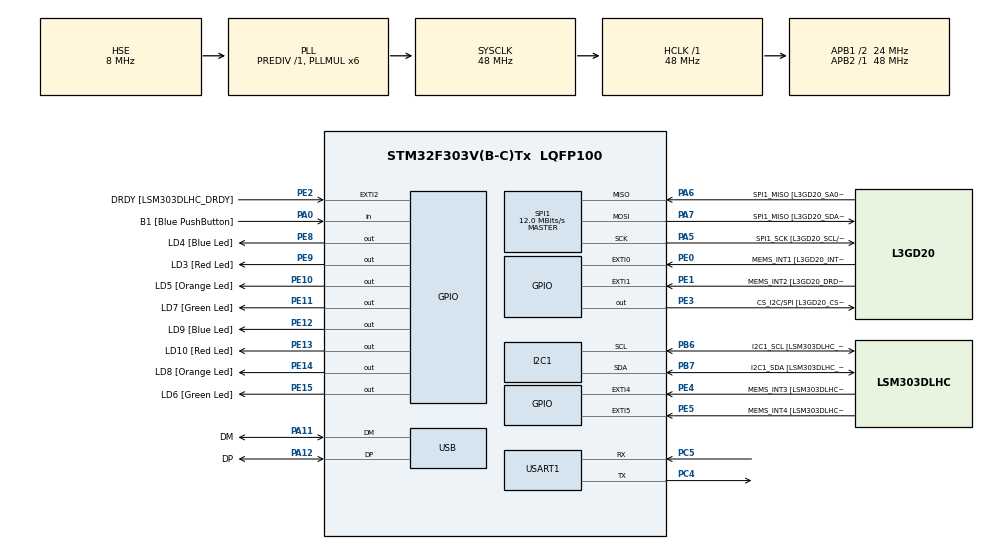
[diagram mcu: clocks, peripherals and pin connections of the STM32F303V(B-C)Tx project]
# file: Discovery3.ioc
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I2C1.Timing=0x2000090E
I2C1.Timing-I2C=0x2000090E
Mcu.Family=STM32F3
Mcu.Name=STM32F303V(B-C)Tx
Mcu.Package=LQFP100
NVIC.PriorityGroup=NVIC_PRIORITYGROUP_0
PA0.GPIO_Label=B1 [Blue PushButton]
PA0.Signal=GPIO_Input
PA11.GPIO_Label=DM
PA11.Mode=Device
PA11.Signal=USB_DM
PA12.GPIO_Label=DP
PA12.Mode=Device
PA12.Signal=USB_DP
PA13.GPIO_Label=SWDIO
PA13.Mode=Serial_Wire
PA13.Signal=SYS_JTMS-SWDIO
PA14.GPIO_Label=SWCLK
PA14.Mode=Serial_Wire
PA14.Signal=SYS_JTCK-SWCLK
PA5.GPIO_Label=SPI1_SCK [L3GD20_SCL/SPC]
PA5.Mode=Full_Duplex_Master
PA5.Signal=SPI1_SCK
PA6.GPIO_Label=SPI1_MISO [L3GD20_SA0/SDO]
PA6.Mode=Full_Duplex_Master
PA6.Signal=SPI1_MISO
PA7.GPIO_Label=SPI1_MISO [L3GD20_SDA/SDI/SDO]
PA7.Mode=Full_Duplex_Master
PA7.Signal=SPI1_MOSI
PB3.GPIO_Label=SWO
PB3.Signal=SYS_JTDO-TRACESWO
PB6.GPIO_Label=I2C1_SCL [LSM303DLHC_SCL]
PB6.GPIO_Pu=GPIO_PULLUP
PB6.Mode=I2C
PB6.Signal=I2C1_SCL
PB7.GPIO_Label=I2C1_SDA [LSM303DLHC_SDA]
PB7.GPIO_Pu=GPIO_PULLUP
PB7.Mode=I2C
PB7.Signal=I2C1_SDA
PC14-OSC32_IN.GPIO_Label=OSC32_IN
PC14-OSC32_IN.Signal=RCC_OSC32_IN
PC15-OSC32_OUT.GPIO_Label=OSC32_OUT
PC15-OSC32_OUT.Signal=RCC_OSC32_OUT
PC4.Mode=Asynchronous
PC4.Signal=USART1_TX
PC5.Mode=Asynchronous
PC5.Signal=USART1_RX
PE0.GPIO_Label=MEMS_INT1 [L3GD20_INT1]
PE0.GPIO_ModeDefaultEXTI=GPIO_MODE_EVT_RISING
PE0.Signal=GPXTI0
PE1.GPIO_Label=MEMS_INT2 [L3GD20_DRDY/INT2]
PE1.GPIO_ModeDefaultEXTI=GPIO_MODE_EVT_RISING
PE1.Signal=GPXTI1
PE10.GPIO_Label=LD5 [Orange Led]
PE10.Signal=GPIO_Output
PE11.GPIO_Label=LD7 [Green Led]
PE11.Signal=GPIO_Output
PE12.GPIO_Label=LD9 [Blue Led]
PE12.Signal=GPIO_Output
PE13.GPIO_Label=LD10 [Red Led]
PE13.Signal=GPIO_Output
PE14.GPIO_Label=LD8 [Orange Led]
PE14.Signal=GPIO_Output
PE15.GPIO_Label=LD6 [Green Led]
PE15.Signal=GPIO_Output
PE2.GPIO_Label=DRDY [LSM303DLHC_DRDY]
PE2.GPIO_ModeDefaultEXTI=GPIO_MODE_EVT_RISING
PE2.Signal=GPXTI2
PE3.GPIO_Label=CS_I2C/SPI [L3GD20_CS_I2C/SPI]
PE3.Signal=GPIO_Output
PE4.GPIO_Label=MEMS_INT3 [LSM303DLHC_INT1]
PE4.GPIO_ModeDefaultEXTI=GPIO_MODE_EVT_RISING
PE4.Signal=GPXTI4
PE5.GPIO_Label=MEMS_INT4 [LSM303DLHC_INT2]
PE5.GPIO_ModeDefaultEXTI=GPIO_MODE_EVT_RISING
PE5.Signal=GPXTI5
PE8.GPIO_Label=LD4 [Blue Led]
PE8.Signal=GPIO_Output
PE9.GPIO_Label=LD3 [Red Led]
PE9.Signal=GPIO_Output
PF0-OSC_IN.GPIO_Label=OSC_IN
PF0-OSC_IN.Mode=HSE-External-Clock-Source
PF0-OSC_IN.Signal=RCC_OSC_IN
PF1-OSC_OUT.GPIO_Label=OSC_OUT
PF1-OSC_OUT.Signal=RCC_OSC_OUT
ProjectManager.HeapSize=0x200
ProjectManager.StackSize=0x400
ProjectManager.TargetToolchain=CMake
RCC.AHBFreq_Value=48000000
RCC.APB1CLKDivider=RCC_HCLK_DIV2
RCC.APB1Freq_Value=24000000
RCC.APB1TimFreq_Value=48000000
RCC.APB2Freq_Value=48000000
RCC.APB2TimFreq_Value=48000000
RCC.CortexFreq_Value=48000000
RCC.HCLKFreq_Value=48000000
RCC.HSE_VALUE=8000000
RCC.HSI_VALUE=8000000
RCC.LSE_VALUE=32768
RCC.PLLMUL=RCC_PLL_MUL6
RCC.SYSCLKFreq_VALUE=48000000
RCC.SYSCLKSourceVirtual=RCC_SYSCLKSOURCE_PLLCLK
RCC.USBFreq_Value=48000000
SPI1.BaudRatePrescaler=SPI_BAUDRATEPRESCALER_4
SPI1.BaudRatePrescaler-Full_Duplex_Master=SPI_BAUDRATEPRESCALER_2
SPI1.CalculateBaudRate=12.0 MBits/s
SPI1.CalculateBaudRate-Full_Duplex_Master=24.0 MBits/s
SPI1.Direction=SPI_DIRECTION_2LINES
SPI1.Mode=SPI_MODE_MASTER
SPI1.Mode-Full_Duplex_Master=SPI_MODE_MASTER
SPI1.VirtualType=VM_MASTER
USART1.VirtualMode-Asynchronous=VM_ASYNC
board=STM32F3DISCOVERY

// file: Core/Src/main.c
/* USER CODE BEGIN Header */
/**
  ******************************************************************************
  * @file           : main.c
  * @brief          : Main program body
  ******************************************************************************
  * @attention
  *
  * Copyright (c) 2026 STMicroelectronics.
  * All rights reserved.
  *
  * This software is licensed under terms that can be found in the LICENSE file
  * in the root directory of this software component.
  * If no LICENSE file comes with this software, it is provided AS-IS.
  *
  ******************************************************************************
  */
/* USER CODE END Header */
#include "main.h"
#include "stm32f3xx_hal_uart.h"

I2C_HandleTypeDef hi2c1;

SPI_HandleTypeDef hspi1;

UART_HandleTypeDef huart1;

PCD_HandleTypeDef hpcd_USB_FS;

void SystemClock_Config(void);
static void MX_GPIO_Init(void);
static void MX_I2C1_Init(void);
static void MX_SPI1_Init(void);
static void MX_USB_PCD_Init(void);
static void MX_USART1_UART_Init(void);

int main(void)
{

  /* MCU Configuration--------------------------------------------------------*/

  /* Reset of all peripherals, Initializes the Flash interface and the Systick. */
  HAL_Init();

  /* Configure the system clock */
  SystemClock_Config();

  /* Initialize all configured peripherals */
  MX_GPIO_Init();
  MX_I2C1_Init();
  MX_SPI1_Init();
  MX_USB_PCD_Init();
  MX_USART1_UART_Init();

  /* Infinite loop */
  /* USER CODE BEGIN WHILE */
  while (1)
  {
    HAL_UART_Transmit(&huart1, (uint8_t *)"Hello World!\r\n", 14, HAL_MAX_DELAY);

    HAL_Delay(500);
    HAL_GPIO_TogglePin(LD4_GPIO_Port, LD4_Pin);
    HAL_Delay(500);
    HAL_GPIO_TogglePin(LD3_GPIO_Port, LD3_Pin);
    HAL_Delay(500);

    HAL_GPIO_TogglePin(LD5_GPIO_Port, LD5_Pin);
    HAL_Delay(500);
    HAL_GPIO_TogglePin(LD7_GPIO_Port, LD7_Pin);
    HAL_Delay(500);
    HAL_GPIO_TogglePin(LD9_GPIO_Port, LD9_Pin);
    HAL_Delay(500);
    HAL_GPIO_TogglePin(LD10_GPIO_Port, LD10_Pin);
    HAL_Delay(500);
    HAL_GPIO_TogglePin(LD8_GPIO_Port, LD8_Pin);
    HAL_Delay(500);
    HAL_GPIO_TogglePin(LD6_GPIO_Port, LD6_Pin);
    HAL_Delay(500);

    /* USER CODE END WHILE */

  }
}

void SystemClock_Config(void)
{
  RCC_OscInitTypeDef RCC_OscInitStruct = {0};
  RCC_ClkInitTypeDef RCC_ClkInitStruct = {0};
  RCC_PeriphCLKInitTypeDef PeriphClkInit = {0};

  /** Initializes the RCC Oscillators according to the specified parameters
  * in the RCC_OscInitTypeDef structure.
  */
  RCC_OscInitStruct.OscillatorType = RCC_OSCILLATORTYPE_HSI|RCC_OSCILLATORTYPE_HSE;
  RCC_OscInitStruct.HSEState = RCC_HSE_BYPASS;
  RCC_OscInitStruct.HSEPredivValue = RCC_HSE_PREDIV_DIV1;
  RCC_OscInitStruct.HSIState = RCC_HSI_ON;
  RCC_OscInitStruct.HSICalibrationValue = RCC_HSICALIBRATION_DEFAULT;
  RCC_OscInitStruct.PLL.PLLState = RCC_PLL_ON;
  RCC_OscInitStruct.PLL.PLLSource = RCC_PLLSOURCE_HSE;
  RCC_OscInitStruct.PLL.PLLMUL = RCC_PLL_MUL6;
  if (HAL_RCC_OscConfig(&RCC_OscInitStruct) != HAL_OK)
  {
    Error_Handler();
  }

  /** Initializes the CPU, AHB and APB buses clocks
  */
  RCC_ClkInitStruct.ClockType = RCC_CLOCKTYPE_HCLK|RCC_CLOCKTYPE_SYSCLK
                              |RCC_CLOCKTYPE_PCLK1|RCC_CLOCKTYPE_PCLK2;
  RCC_ClkInitStruct.SYSCLKSource = RCC_SYSCLKSOURCE_PLLCLK;
  RCC_ClkInitStruct.AHBCLKDivider = RCC_SYSCLK_DIV1;
  RCC_ClkInitStruct.APB1CLKDivider = RCC_HCLK_DIV2;
  RCC_ClkInitStruct.APB2CLKDivider = RCC_HCLK_DIV1;

  if (HAL_RCC_ClockConfig(&RCC_ClkInitStruct, FLASH_LATENCY_1) != HAL_OK)
  {
    Error_Handler();
  }
  PeriphClkInit.PeriphClockSelection = RCC_PERIPHCLK_USB|RCC_PERIPHCLK_USART1
                              |RCC_PERIPHCLK_I2C1;
  PeriphClkInit.Usart1ClockSelection = RCC_USART1CLKSOURCE_PCLK2;
  PeriphClkInit.I2c1ClockSelection = RCC_I2C1CLKSOURCE_HSI;
  PeriphClkInit.USBClockSelection = RCC_USBCLKSOURCE_PLL;
  if (HAL_RCCEx_PeriphCLKConfig(&PeriphClkInit) != HAL_OK)
  {
    Error_Handler();
  }
}

static void MX_I2C1_Init(void)
{

  hi2c1.Instance = I2C1;
  hi2c1.Init.Timing = 0x2000090E;
  hi2c1.Init.OwnAddress1 = 0;
  hi2c1.Init.AddressingMode = I2C_ADDRESSINGMODE_7BIT;
  hi2c1.Init.DualAddressMode = I2C_DUALADDRESS_DISABLE;
  hi2c1.Init.OwnAddress2 = 0;
  hi2c1.Init.OwnAddress2Masks = I2C_OA2_NOMASK;
  hi2c1.Init.GeneralCallMode = I2C_GENERALCALL_DISABLE;
  hi2c1.Init.NoStretchMode = I2C_NOSTRETCH_DISABLE;
  if (HAL_I2C_Init(&hi2c1) != HAL_OK)
  {
    Error_Handler();
  }

  /** Configure Analogue filter
  */
  if (HAL_I2CEx_ConfigAnalogFilter(&hi2c1, I2C_ANALOGFILTER_ENABLE) != HAL_OK)
  {
    Error_Handler();
  }

  /** Configure Digital filter
  */
  if (HAL_I2CEx_ConfigDigitalFilter(&hi2c1, 0) != HAL_OK)
  {
    Error_Handler();
  }

}

static void MX_SPI1_Init(void)
{

  /* SPI1 parameter configuration*/
  hspi1.Instance = SPI1;
  hspi1.Init.Mode = SPI_MODE_MASTER;
  hspi1.Init.Direction = SPI_DIRECTION_2LINES;
  hspi1.Init.DataSize = SPI_DATASIZE_4BIT;
  hspi1.Init.CLKPolarity = SPI_POLARITY_LOW;
  hspi1.Init.CLKPhase = SPI_PHASE_1EDGE;
  hspi1.Init.NSS = SPI_NSS_SOFT;
  hspi1.Init.BaudRatePrescaler = SPI_BAUDRATEPRESCALER_4;
  hspi1.Init.FirstBit = SPI_FIRSTBIT_MSB;
  hspi1.Init.TIMode = SPI_TIMODE_DISABLE;
  hspi1.Init.CRCCalculation = SPI_CRCCALCULATION_DISABLE;
  hspi1.Init.CRCPolynomial = 7;
  hspi1.Init.CRCLength = SPI_CRC_LENGTH_DATASIZE;
  hspi1.Init.NSSPMode = SPI_NSS_PULSE_ENABLE;
  if (HAL_SPI_Init(&hspi1) != HAL_OK)
  {
    Error_Handler();
  }

}

static void MX_USART1_UART_Init(void)
{

  huart1.Instance = USART1;
  huart1.Init.BaudRate = 38400;
  huart1.Init.WordLength = UART_WORDLENGTH_8B;
  huart1.Init.StopBits = UART_STOPBITS_1;
  huart1.Init.Parity = UART_PARITY_NONE;
  huart1.Init.Mode = UART_MODE_TX_RX;
  huart1.Init.HwFlowCtl = UART_HWCONTROL_NONE;
  huart1.Init.OverSampling = UART_OVERSAMPLING_16;
  huart1.Init.OneBitSampling = UART_ONE_BIT_SAMPLE_DISABLE;
  huart1.AdvancedInit.AdvFeatureInit = UART_ADVFEATURE_NO_INIT;
  if (HAL_UART_Init(&huart1) != HAL_OK)
  {
    Error_Handler();
  }

}

static void MX_USB_PCD_Init(void)
{

  hpcd_USB_FS.Instance = USB;
  hpcd_USB_FS.Init.dev_endpoints = 8;
  hpcd_USB_FS.Init.speed = PCD_SPEED_FULL;
  hpcd_USB_FS.Init.phy_itface = PCD_PHY_EMBEDDED;
  hpcd_USB_FS.Init.low_power_enable = DISABLE;
  hpcd_USB_FS.Init.battery_charging_enable = DISABLE;
  if (HAL_PCD_Init(&hpcd_USB_FS) != HAL_OK)
  {
    Error_Handler();
  }

}

static void MX_GPIO_Init(void)
{
  GPIO_InitTypeDef GPIO_InitStruct = {0};

  /* GPIO Ports Clock Enable */
  __HAL_RCC_GPIOE_CLK_ENABLE();
  __HAL_RCC_GPIOC_CLK_ENABLE();
  __HAL_RCC_GPIOF_CLK_ENABLE();
  __HAL_RCC_GPIOA_CLK_ENABLE();
  __HAL_RCC_GPIOB_CLK_ENABLE();

  /*Configure GPIO pin Output Level */
  HAL_GPIO_WritePin(GPIOE, CS_I2C_SPI_Pin|LD4_Pin|LD3_Pin|LD5_Pin
                          |LD7_Pin|LD9_Pin|LD10_Pin|LD8_Pin
                          |LD6_Pin, GPIO_PIN_RESET);

  /*Configure GPIO pins : DRDY_Pin MEMS_INT3_Pin MEMS_INT4_Pin MEMS_INT1_Pin
                           MEMS_INT2_Pin */
  GPIO_InitStruct.Pin = DRDY_Pin|MEMS_INT3_Pin|MEMS_INT4_Pin|MEMS_INT1_Pin
                          |MEMS_INT2_Pin;
  GPIO_InitStruct.Mode = GPIO_MODE_EVT_RISING;
  GPIO_InitStruct.Pull = GPIO_NOPULL;
  HAL_GPIO_Init(GPIOE, &GPIO_InitStruct);

  /*Configure GPIO pins : CS_I2C_SPI_Pin LD4_Pin LD3_Pin LD5_Pin
                           LD7_Pin LD9_Pin LD10_Pin LD8_Pin
                           LD6_Pin */
  GPIO_InitStruct.Pin = CS_I2C_SPI_Pin|LD4_Pin|LD3_Pin|LD5_Pin
                          |LD7_Pin|LD9_Pin|LD10_Pin|LD8_Pin
                          |LD6_Pin;
  GPIO_InitStruct.Mode = GPIO_MODE_OUTPUT_PP;
  GPIO_InitStruct.Pull = GPIO_NOPULL;
  GPIO_InitStruct.Speed = GPIO_SPEED_FREQ_LOW;
  HAL_GPIO_Init(GPIOE, &GPIO_InitStruct);

  /*Configure GPIO pin : B1_Pin */
  GPIO_InitStruct.Pin = B1_Pin;
  GPIO_InitStruct.Mode = GPIO_MODE_INPUT;
  GPIO_InitStruct.Pull = GPIO_NOPULL;
  HAL_GPIO_Init(B1_GPIO_Port, &GPIO_InitStruct);

}

void Error_Handler(void)
{
  __disable_irq();
  while (1)
  {
  }
}
